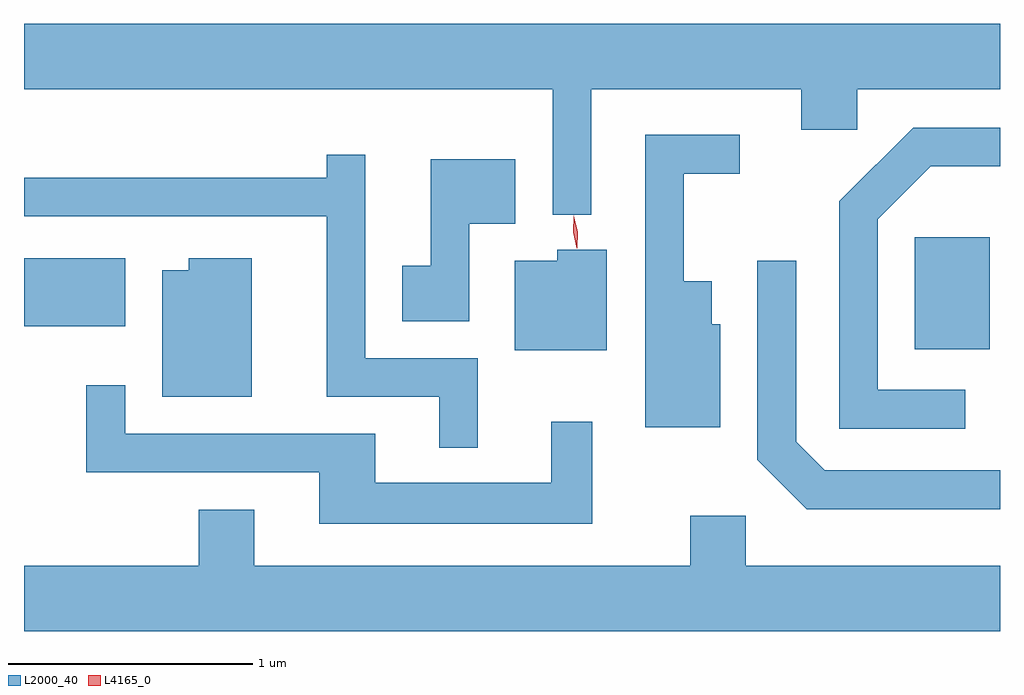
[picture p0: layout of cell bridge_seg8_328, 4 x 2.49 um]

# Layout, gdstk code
import gdstk
lib = gdstk.Library(unit=1e-6, precision=1e-09)
def R(c, l, rs):  # rectangles x0, y0, x1, y1
    for r in rs: c.add(gdstk.rectangle(r[:2], r[2:], *l))
def P(c, l, *ps):  # polygons
    for p in ps: c.add(gdstk.Polygon(p, *l))
L2000_40 = (2000, 40)
L4165_0 = (4165, 0)

bridge_seg8_328 = lib.new_cell('bridge_seg8_328')
R(bridge_seg8_328, L2000_40, [(879.431,1928.591,879.739,1929.049), (875.78,1928.686,876.194,1928.964)])
P(bridge_seg8_328, L2000_40, [(878.104,1929.656),(878.966,1929.656),(878.966,1929.491),(879.194,1929.491),(879.194,1929.656),(879.78,1929.656),(879.78,1929.924),(875.78,1929.924),(875.78,1929.656),(877.946,1929.656),(877.946,1929.143),(878.104,1929.143)],
  [(879.638,1928.424),(879.279,1928.424),(879.279,1929.124),(879.497,1929.341),(879.78,1929.341),(879.78,1929.499),(879.424,1929.499),(879.121,1929.197),(879.121,1928.266),(879.638,1928.266)],
  [(878.634,1928.694),(878.599,1928.694),(878.599,1928.869),(878.484,1928.869),(878.484,1929.311),(878.713,1929.311),(878.713,1929.469),(878.326,1929.469),(878.326,1928.271),(878.634,1928.271)],
  [(877.639,1928.554),(877.179,1928.554),(877.179,1929.388),(877.021,1929.388),(877.021,1929.294),(875.78,1929.294),(875.78,1929.136),(877.021,1929.136),(877.021,1928.396),(877.481,1928.396),(877.481,1928.188),(877.639,1928.188)],
  [(877.604,1929.106),(877.794,1929.106),(877.794,1929.369),(877.446,1929.369),(877.446,1928.934),(877.331,1928.934),(877.331,1928.706),(877.604,1928.706)],
  [(878.169,1928.999),(877.966,1928.999),(877.966,1928.954),(877.791,1928.954),(877.791,1928.586),(878.169,1928.586)],
  [(876.714,1928.964),(876.456,1928.964),(876.456,1928.914),(876.346,1928.914),(876.346,1928.396),(876.714,1928.396)],
  [(879.78,1928.094),(879.062,1928.094),(878.944,1928.212),(878.944,1928.953),(878.786,1928.953),(878.786,1928.139),(878.989,1927.936),(879.78,1927.936)],
  [(878.109,1928.293),(877.941,1928.293),(877.941,1928.044),(877.219,1928.044),(877.219,1928.244),(876.194,1928.244),(876.194,1928.443),(876.036,1928.443),(876.036,1928.086),(876.991,1928.086),(876.991,1927.876),(878.109,1927.876)],
  [(879.78,1927.704),(878.739,1927.704),(878.739,1927.909),(878.511,1927.909),(878.511,1927.704),(876.724,1927.704),(876.724,1927.934),(876.496,1927.934),(876.496,1927.704),(875.78,1927.704),(875.78,1927.436),(879.78,1927.436)])
P(bridge_seg8_328, L4165_0, [(878.047,1929.004),(878.046,1929.005),(878.03,1929.07),(878.033,1929.137),(878.034,1929.137),(878.034,1929.137),(878.05,1929.072),(878.047,1929.005)])

lib.write_gds('bridge_seg8_328.gds')
